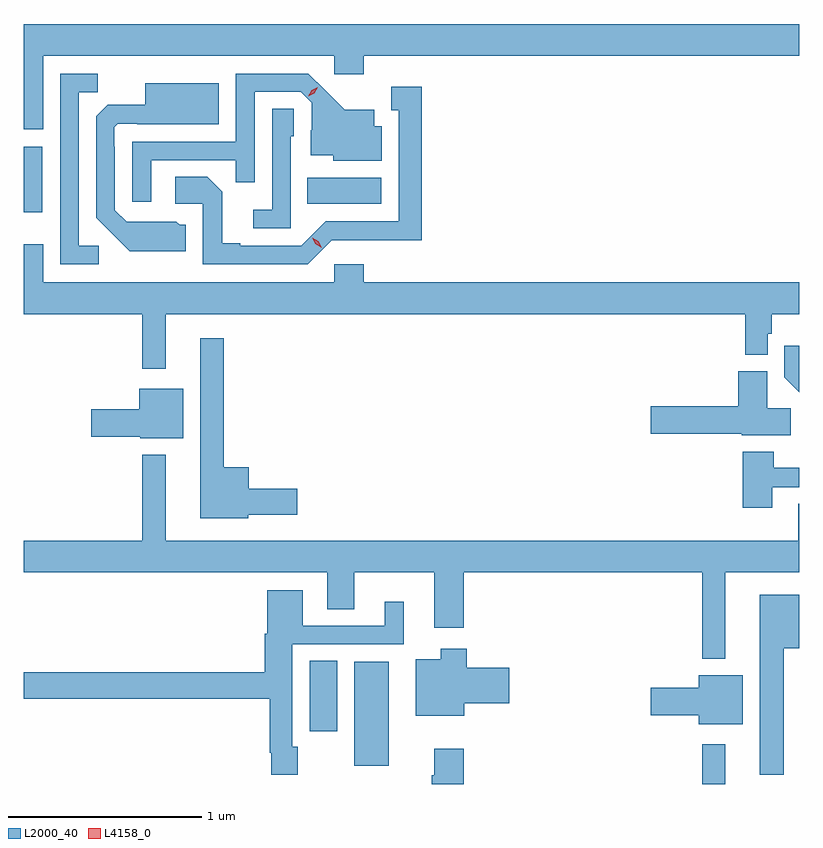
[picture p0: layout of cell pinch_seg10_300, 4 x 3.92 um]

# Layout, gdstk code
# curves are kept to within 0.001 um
import gdstk
lib = gdstk.Library(unit=1e-6, precision=1e-09)
def R(c, l, rs):  # rectangles x0, y0, x1, y1
    for r in rs: c.add(gdstk.rectangle(r[:2], r[2:], *l))
def P(c, l, *ps):  # polygons
    for p in ps: c.add(gdstk.Polygon(p, *l))
L2000_40 = (2000, 40)
L4158_0 = (4158, 0)

pinch_seg10_300 = lib.new_cell('pinch_seg10_300')
R(pinch_seg10_300, L2000_40, [(402.252,1288.569,402.373,1288.774), (400.46,1288.664,400.636,1289.2), (400.229,1288.842,400.372,1289.204), (398.754,1291.518,398.851,1291.855), (400.216,1291.562,400.597,1291.696)])
P(pinch_seg10_300, L2000_40, [(398.854,1292.324),(400.356,1292.324),(400.356,1292.229),(400.508,1292.229),(400.508,1292.324),(402.754,1292.324),(402.754,1292.488),(398.754,1292.488),(398.754,1291.944),(398.854,1291.944)],
  [(399.411,1291.785),(399.847,1291.785),(399.847,1291.672),(399.945,1291.672),(399.945,1292.139),(400.182,1292.139),(400.239,1292.082),(400.239,1291.94),(400.235,1291.94),(400.235,1291.811),(400.35,1291.811),(400.35,1291.784),(400.6,1291.784),(400.6,1291.96),(400.561,1291.96),(400.561,1292.047),(400.409,1292.047),(400.222,1292.232),(399.849,1292.232),(399.849,1291.881),(399.315,1291.881),(399.315,1291.572),(399.411,1291.572)],
  [(399.142,1291.344),(399.039,1291.344),(399.039,1292.137),(399.135,1292.137),(399.135,1292.232),(398.943,1292.232),(398.943,1291.248),(399.142,1291.248)],
  [(399.589,1291.452),(399.558,1291.452),(399.542,1291.468),(399.285,1291.467),(399.225,1291.527),(399.225,1291.856),(399.222,1291.856),(399.222,1291.956),(399.24,1291.974),(399.34,1291.974),(399.34,1291.97),(399.76,1291.97),(399.76,1292.182),(399.38,1292.182),(399.38,1292.071),(399.188,1292.071),(399.129,1292.012),(399.129,1291.49),(399.301,1291.316),(399.589,1291.316)],
  [(400.344,1291.374),(400.807,1291.373),(400.807,1292.164),(400.649,1292.164),(400.649,1292.043),(400.688,1292.043),(400.688,1291.47),(400.311,1291.47),(400.185,1291.344),(399.871,1291.344),(399.871,1291.357),(399.777,1291.357),(399.777,1291.624),(399.701,1291.7),(399.537,1291.7),(399.537,1291.56),(399.678,1291.56),(399.678,1291.248),(400.218,1291.248)],
  [(400.131,1291.908),(400.146,1291.908),(400.146,1292.051),(400.035,1292.051),(400.035,1291.531),(399.939,1291.531),(399.939,1291.434),(400.131,1291.434)],
  [(399.487,1290.992),(402.475,1290.992),(402.475,1290.782),(402.591,1290.782),(402.591,1290.891),(402.611,1290.891),(402.611,1290.992),(402.754,1290.992),(402.754,1291.156),(400.508,1291.156),(400.508,1291.249),(400.356,1291.249),(400.356,1291.156),(398.854,1291.156),(398.854,1291.351),(398.754,1291.351),(398.754,1290.992),(399.366,1290.992),(399.366,1290.711),(399.487,1290.711)],
  [(399.912,1289.957),(400.165,1289.957),(400.165,1290.092),(399.916,1290.092),(399.916,1290.202),(399.787,1290.202),(399.787,1290.868),(399.665,1290.868),(399.665,1289.939),(399.912,1289.939)],
  [(402.754,1290.829),(402.676,1290.829),(402.676,1290.666),(402.754,1290.588)],
  [(402.71,1290.506),(402.589,1290.506),(402.589,1290.697),(402.44,1290.697),(402.44,1290.516),(401.988,1290.516),(401.988,1290.374),(402.456,1290.374),(402.456,1290.368),(402.71,1290.368)],
  [(399.577,1290.607),(399.35,1290.607),(399.35,1290.501),(399.102,1290.501),(399.102,1290.359),(399.354,1290.359),(399.354,1290.353),(399.577,1290.353)],
  [(402.613,1290.099),(402.754,1290.099),(402.754,1290.199),(402.621,1290.199),(402.621,1290.283),(402.461,1290.283),(402.461,1289.994),(402.613,1289.994)],
  [(402.373,1289.66),(402.754,1289.66),(402.754,1290.014),(402.749,1290.014),(402.749,1289.824),(399.487,1289.824),(399.487,1290.268),(399.366,1290.268),(399.366,1289.824),(398.754,1289.824),(398.754,1289.66),(400.319,1289.66),(400.319,1289.47),(400.459,1289.47),(400.459,1289.66),(400.871,1289.66),(400.871,1289.376),(401.024,1289.376),(401.024,1289.66),(402.252,1289.66),(402.252,1289.216),(402.373,1289.216)],
  [(400.167,1288.761),(400.14,1288.761),(400.14,1289.289),(400.714,1289.289),(400.714,1289.509),(400.616,1289.509),(400.616,1289.385),(400.192,1289.385),(400.192,1289.569),(400.01,1289.569),(400.01,1289.343),(399.998,1289.343),(399.998,1289.144),(398.754,1289.144),(398.754,1289.008),(400.024,1289.008),(400.024,1288.729),(400.032,1288.729),(400.032,1288.617),(400.167,1288.617)],
  [(402.673,1289.27),(402.754,1289.27),(402.754,1289.545),(402.551,1289.545),(402.551,1288.617),(402.673,1288.617)],
  [(401.026,1288.985),(401.257,1288.985),(401.257,1289.168),(401.039,1289.168),(401.039,1289.266),(400.904,1289.266),(400.904,1289.212),(400.775,1289.212),(400.775,1288.922),(401.026,1288.922)],
  [(402.463,1289.131),(402.236,1289.131),(402.236,1289.066),(401.988,1289.066),(401.988,1288.924),(402.236,1288.924),(402.236,1288.877),(402.463,1288.877)],
  [(401.024,1288.75),(400.871,1288.75),(400.871,1288.613),(400.859,1288.613),(400.859,1288.569),(401.024,1288.569)])
P(pinch_seg10_300, L4158_0, [(400.29,1291.334),(400.258,1291.354),(400.241,1291.386),(400.241,1291.386),(400.241,1291.386),(400.273,1291.367),(400.29,1291.334),(400.29,1291.334)],
  [(400.222,1292.116),(400.222,1292.116),(400.239,1292.146),(400.27,1292.161),(400.27,1292.161),(400.27,1292.161),(400.253,1292.131),(400.222,1292.116)])

lib.write_gds('pinch_seg10_300.gds')
